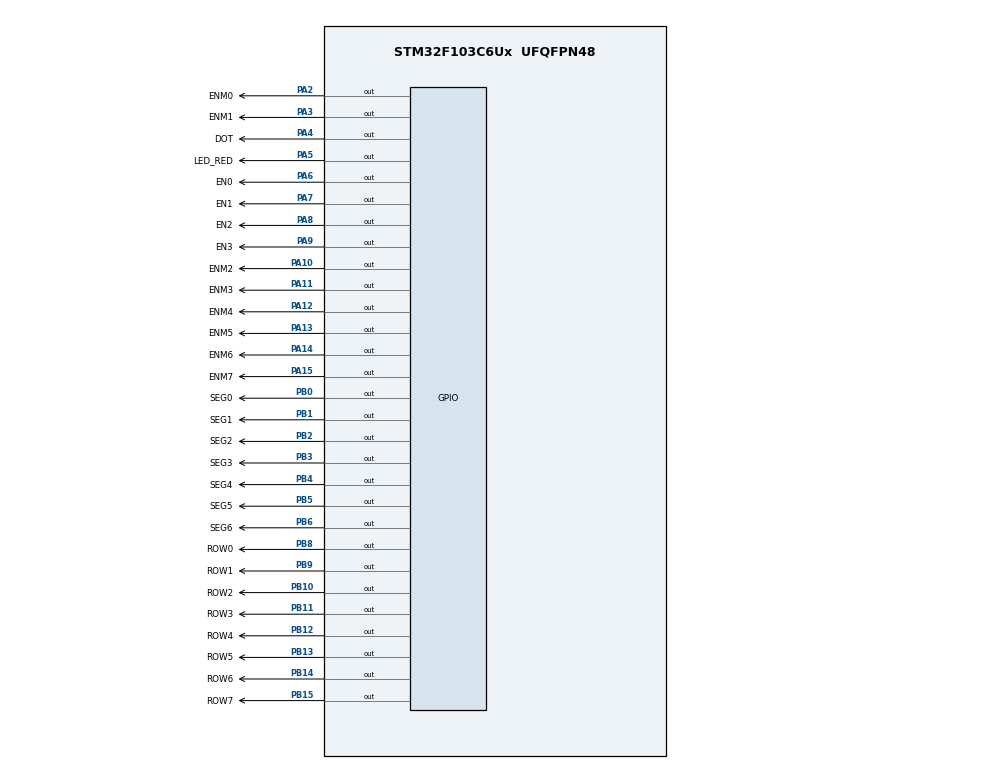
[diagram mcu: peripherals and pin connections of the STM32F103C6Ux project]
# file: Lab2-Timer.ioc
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Mcu.Family=STM32F1
Mcu.Name=STM32F103C6Ux
Mcu.Package=UFQFPN48
NVIC.PriorityGroup=NVIC_PRIORITYGROUP_4
NVIC.TIM2_IRQn=true\:0\:0\:false\:false\:true\:true\:true
PA10.GPIO_Label=ENM2
PA10.Signal=GPIO_Output
PA11.GPIO_Label=ENM3
PA11.Signal=GPIO_Output
PA12.GPIO_Label=ENM4
PA12.Signal=GPIO_Output
PA13.GPIO_Label=ENM5
PA13.Signal=GPIO_Output
PA14.GPIO_Label=ENM6
PA14.Signal=GPIO_Output
PA15.GPIO_Label=ENM7
PA15.Signal=GPIO_Output
PA2.GPIO_Label=ENM0
PA2.Signal=GPIO_Output
PA3.GPIO_Label=ENM1
PA3.Signal=GPIO_Output
PA4.GPIO_Label=DOT
PA4.Signal=GPIO_Output
PA5.GPIO_Label=LED_RED
PA5.Signal=GPIO_Output
PA6.GPIO_Label=EN0
PA6.Signal=GPIO_Output
PA7.GPIO_Label=EN1
PA7.Signal=GPIO_Output
PA8.GPIO_Label=EN2
PA8.Signal=GPIO_Output
PA9.GPIO_Label=EN3
PA9.Signal=GPIO_Output
PB0.GPIO_Label=SEG0
PB0.Signal=GPIO_Output
PB1.GPIO_Label=SEG1
PB1.Signal=GPIO_Output
PB10.GPIO_Label=ROW2
PB10.Signal=GPIO_Output
PB11.GPIO_Label=ROW3
PB11.Signal=GPIO_Output
PB12.GPIO_Label=ROW4
PB12.Signal=GPIO_Output
PB13.GPIO_Label=ROW5
PB13.Signal=GPIO_Output
PB14.GPIO_Label=ROW6
PB14.Signal=GPIO_Output
PB15.GPIO_Label=ROW7
PB15.Signal=GPIO_Output
PB2.GPIO_Label=SEG2
PB2.Signal=GPIO_Output
PB3.GPIO_Label=SEG3
PB3.Signal=GPIO_Output
PB4.GPIO_Label=SEG4
PB4.Signal=GPIO_Output
PB5.GPIO_Label=SEG5
PB5.Signal=GPIO_Output
PB6.GPIO_Label=SEG6
PB6.Signal=GPIO_Output
PB8.GPIO_Label=ROW0
PB8.Signal=GPIO_Output
PB9.GPIO_Label=ROW1
PB9.Signal=GPIO_Output
ProjectManager.HeapSize=0x200
ProjectManager.StackSize=0x400
ProjectManager.TargetToolchain=STM32CubeIDE
RCC.APB1Freq_Value=8000000
RCC.APB2Freq_Value=8000000
TIM2.Period=9
TIM2.Prescaler=7999
VP_SYS_VS_ND.Mode=No_Debug
VP_TIM2_VS_ClockSourceINT.Mode=Internal
board=custom

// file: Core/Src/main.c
/* USER CODE BEGIN Header */
/**
  ******************************************************************************
  * @file           : main.c
  * @brief          : Main program body
  ******************************************************************************
  * @attention
  *
  * <h2><center>&copy; Copyright (c) 2025 STMicroelectronics.
  * All rights reserved.</center></h2>
  *
  * This software component is licensed by ST under BSD 3-Clause license,
  * the "License"; You may not use this file except in compliance with the
  * License. You may obtain a copy of the License at:
  *                        opensource.org/licenses/BSD-3-Clause
  *
  ******************************************************************************
  */
/* USER CODE END Header */
#include "main.h"

/* USER CODE BEGIN Includes */
#include "software_timer.h"
/* USER CODE END Includes */

/* USER CODE BEGIN PD */
#define TIMER_COUNT 25		//250ms
#define TIMER_COUNT_1 50		//500ms
#define TIMER_COUNT_2 100		//1s
/* USER CODE END PD */

TIM_HandleTypeDef htim2;

void SystemClock_Config(void);
static void MX_GPIO_Init(void);
static void MX_TIM2_Init(void);

/* USER CODE BEGIN 0 */
GPIO_TypeDef* Counter_GPIO_Port[7] = {SEG0_GPIO_Port, SEG1_GPIO_Port, SEG2_GPIO_Port,
		  	  	  	  	  	   	   	  SEG3_GPIO_Port, SEG4_GPIO_Port, SEG5_GPIO_Port,
									  SEG6_GPIO_Port};
uint16_t Counter_Pin[7] = {SEG0_Pin, SEG1_Pin, SEG2_Pin, SEG3_Pin, SEG4_Pin, SEG5_Pin, SEG6_Pin};

uint8_t segmentNumber[10] = {
    0x40, //0
    0x79, //1
    0x24, //2
    0x30, //3
    0x19, //4
    0x12, //5
    0x02, //6
    0x78, //7
    0x00, //8
    0x10  //9
};

void display7Seg(uint8_t number, GPIO_TypeDef* Counter_GPIO_Port[7], uint16_t Counter_Pin[7]);

void clearAllEN();
void TogglePin();
int led_buffer[4] = {0, 0, 0, 0};

void updateClockBuffer(int hour, int minute, int *led_buffer);

void incrementClock(int* hour, int* minute, int* second);

void update7Seg(int index);

// ex9 ----------------------------
const int MAX_LED_MATRIX = 8;
int index_led_matrix = 0;
uint8_t matrix_buffer[8] = {0x01, 0x02, 0x03, 0x04, 0x05, 0x06, 0x07, 0x08};

uint8_t A_Col[] = {0x00, 0x30, 0x48, 0x48, 0x78, 0x48, 0x48, 0x48};
uint8_t A_Row[] = {0x03, 0xED, 0xED, 0x03, 0xFF, 0xFF, 0xFF, 0xFF};
uint16_t Col_Pin[] = {ENM0_Pin, ENM1_Pin, ENM2_Pin, ENM3_Pin, ENM4_Pin, ENM5_Pin, ENM6_Pin, ENM7_Pin};
uint16_t Row_Pin[] = {ROW0_Pin, ROW1_Pin, ROW2_Pin, ROW3_Pin, ROW4_Pin, ROW5_Pin, ROW6_Pin, ROW7_Pin};

void updateLEDMatrix(int index, uint16_t* Col_Pin, uint16_t* Row_Pin, uint8_t* matrix_buffer, int buffer);
void writeCol(int index, uint8_t* Col, uint16_t* Col_Pin);
void writeRow(int index, uint8_t* Row, uint16_t* Row_Pin);
void clearCol();
void clearRow();
void setCol(uint8_t value, uint16_t* Col_Pin);
void setRow(uint8_t value, uint16_t* Row_Pin);
/* USER CODE END 0 */

int main(void)
{

  /* MCU Configuration--------------------------------------------------------*/

  /* Reset of all peripherals, Initializes the Flash interface and the Systick. */
  HAL_Init();

  /* USER CODE BEGIN Init */
  int hour = 10, minute = 35, second = 58;
  int status = 0;
  setTimer0(4*TIMER_COUNT);		//1s
  setTimer1(TIMER_COUNT);
  setTimer2(TIMER_COUNT);
  setTimer3(TIMER_COUNT_1);		//500ms
  setTimer4(TIMER_COUNT_2);		//1s
  // ex10
  int buffer = 0;
  /* USER CODE END Init */

  /* Configure the system clock */
  SystemClock_Config();

  /* Initialize all configured peripherals */
  MX_GPIO_Init();
  MX_TIM2_Init();
  /* USER CODE BEGIN 2 */
  HAL_TIM_Base_Start_IT(&htim2);
  /* USER CODE END 2 */

  /* Infinite loop */
  /* USER CODE BEGIN WHILE */
  while (1)
  {
	  if (timer0_flag == 1) {
	  	  incrementClock(&hour, &minute, &second);
	  	  setTimer0(4*TIMER_COUNT);
	  }

	  if (timer1_flag == 1) {
	  	  updateClockBuffer(hour, minute, led_buffer);
	  	  update7Seg(status);
	  	  status = (status + 1) % 4;
	  	  setTimer1(TIMER_COUNT);
	  }

	  if (timer2_flag == 1) {
		  HAL_GPIO_TogglePin(DOT_GPIO_Port, DOT_Pin);
	  	  setTimer2(4*TIMER_COUNT);
	  }

	  if (timer3_flag == 1) {
		  updateLEDMatrix(index_led_matrix, Col_Pin, Row_Pin, A_Row, buffer);
	  	  setTimer3(TIMER_COUNT_1);
	  	  if (index_led_matrix + 1 == 8) buffer = (buffer + 1) % 8;
	  	  index_led_matrix = (index_led_matrix + 1) % 8;
	  }
    /* USER CODE END WHILE */

  }
}

void SystemClock_Config(void)
{
  RCC_OscInitTypeDef RCC_OscInitStruct = {0};
  RCC_ClkInitTypeDef RCC_ClkInitStruct = {0};

  /** Initializes the RCC Oscillators according to the specified parameters
  * in the RCC_OscInitTypeDef structure.
  */
  RCC_OscInitStruct.OscillatorType = RCC_OSCILLATORTYPE_HSI;
  RCC_OscInitStruct.HSIState = RCC_HSI_ON;
  RCC_OscInitStruct.HSICalibrationValue = RCC_HSICALIBRATION_DEFAULT;
  RCC_OscInitStruct.PLL.PLLState = RCC_PLL_NONE;
  if (HAL_RCC_OscConfig(&RCC_OscInitStruct) != HAL_OK)
  {
    Error_Handler();
  }
  /** Initializes the CPU, AHB and APB buses clocks
  */
  RCC_ClkInitStruct.ClockType = RCC_CLOCKTYPE_HCLK|RCC_CLOCKTYPE_SYSCLK
                              |RCC_CLOCKTYPE_PCLK1|RCC_CLOCKTYPE_PCLK2;
  RCC_ClkInitStruct.SYSCLKSource = RCC_SYSCLKSOURCE_HSI;
  RCC_ClkInitStruct.AHBCLKDivider = RCC_SYSCLK_DIV1;
  RCC_ClkInitStruct.APB1CLKDivider = RCC_HCLK_DIV1;
  RCC_ClkInitStruct.APB2CLKDivider = RCC_HCLK_DIV1;

  if (HAL_RCC_ClockConfig(&RCC_ClkInitStruct, FLASH_LATENCY_0) != HAL_OK)
  {
    Error_Handler();
  }
}

static void MX_TIM2_Init(void)
{

  TIM_ClockConfigTypeDef sClockSourceConfig = {0};
  TIM_MasterConfigTypeDef sMasterConfig = {0};

  htim2.Instance = TIM2;
  htim2.Init.Prescaler = 7999;
  htim2.Init.CounterMode = TIM_COUNTERMODE_UP;
  htim2.Init.Period = 9;
  htim2.Init.ClockDivision = TIM_CLOCKDIVISION_DIV1;
  htim2.Init.AutoReloadPreload = TIM_AUTORELOAD_PRELOAD_DISABLE;
  if (HAL_TIM_Base_Init(&htim2) != HAL_OK)
  {
    Error_Handler();
  }
  sClockSourceConfig.ClockSource = TIM_CLOCKSOURCE_INTERNAL;
  if (HAL_TIM_ConfigClockSource(&htim2, &sClockSourceConfig) != HAL_OK)
  {
    Error_Handler();
  }
  sMasterConfig.MasterOutputTrigger = TIM_TRGO_RESET;
  sMasterConfig.MasterSlaveMode = TIM_MASTERSLAVEMODE_DISABLE;
  if (HAL_TIMEx_MasterConfigSynchronization(&htim2, &sMasterConfig) != HAL_OK)
  {
    Error_Handler();
  }

}

static void MX_GPIO_Init(void)
{
  GPIO_InitTypeDef GPIO_InitStruct = {0};

  /* GPIO Ports Clock Enable */
  __HAL_RCC_GPIOA_CLK_ENABLE();
  __HAL_RCC_GPIOB_CLK_ENABLE();

  /*Configure GPIO pin Output Level */
  HAL_GPIO_WritePin(GPIOA, ENM0_Pin|ENM1_Pin|DOT_Pin|LED_RED_Pin
                          |EN0_Pin|EN1_Pin|EN2_Pin|EN3_Pin
                          |ENM2_Pin|ENM3_Pin|ENM4_Pin|ENM5_Pin
                          |ENM6_Pin|ENM7_Pin, GPIO_PIN_RESET);

  /*Configure GPIO pin Output Level */
  HAL_GPIO_WritePin(GPIOB, SEG0_Pin|SEG1_Pin|SEG2_Pin|ROW2_Pin
                          |ROW3_Pin|ROW4_Pin|ROW5_Pin|ROW6_Pin
                          |ROW7_Pin|SEG3_Pin|SEG4_Pin|SEG5_Pin
                          |SEG6_Pin|ROW0_Pin|ROW1_Pin, GPIO_PIN_RESET);

  /*Configure GPIO pins : ENM0_Pin ENM1_Pin DOT_Pin LED_RED_Pin
                           EN0_Pin EN1_Pin EN2_Pin EN3_Pin
                           ENM2_Pin ENM3_Pin ENM4_Pin ENM5_Pin
                           ENM6_Pin ENM7_Pin */
  GPIO_InitStruct.Pin = ENM0_Pin|ENM1_Pin|DOT_Pin|LED_RED_Pin
                          |EN0_Pin|EN1_Pin|EN2_Pin|EN3_Pin
                          |ENM2_Pin|ENM3_Pin|ENM4_Pin|ENM5_Pin
                          |ENM6_Pin|ENM7_Pin;
  GPIO_InitStruct.Mode = GPIO_MODE_OUTPUT_PP;
  GPIO_InitStruct.Pull = GPIO_NOPULL;
  GPIO_InitStruct.Speed = GPIO_SPEED_FREQ_LOW;
  HAL_GPIO_Init(GPIOA, &GPIO_InitStruct);

  /*Configure GPIO pins : SEG0_Pin SEG1_Pin SEG2_Pin ROW2_Pin
                           ROW3_Pin ROW4_Pin ROW5_Pin ROW6_Pin
                           ROW7_Pin SEG3_Pin SEG4_Pin SEG5_Pin
                           SEG6_Pin ROW0_Pin ROW1_Pin */
  GPIO_InitStruct.Pin = SEG0_Pin|SEG1_Pin|SEG2_Pin|ROW2_Pin
                          |ROW3_Pin|ROW4_Pin|ROW5_Pin|ROW6_Pin
                          |ROW7_Pin|SEG3_Pin|SEG4_Pin|SEG5_Pin
                          |SEG6_Pin|ROW0_Pin|ROW1_Pin;
  GPIO_InitStruct.Mode = GPIO_MODE_OUTPUT_PP;
  GPIO_InitStruct.Pull = GPIO_NOPULL;
  GPIO_InitStruct.Speed = GPIO_SPEED_FREQ_LOW;
  HAL_GPIO_Init(GPIOB, &GPIO_InitStruct);

}

/* USER CODE BEGIN 4 */
void Toggle_EN()
{
	HAL_GPIO_WritePin(EN0_GPIO_Port, EN0_Pin, EN[0]);
	HAL_GPIO_WritePin(EN1_GPIO_Port, EN1_Pin, EN[1]);
	HAL_GPIO_WritePin(EN2_GPIO_Port, EN2_Pin, EN[2]);
	HAL_GPIO_WritePin(EN3_GPIO_Port, EN3_Pin, EN[3]);
}

void clearAllEN()
{
	EN[0] = 1;
	EN[1] = 1;
	EN[2] = 1;
	EN[3] = 1;
}

void update7Seg(int index){
	clearAllEN();
	EN[index] = 0;
	switch (index){
		case 0:
			//Display the first 7SEG with led_buffer[0]
			display7Seg(segmentNumber[led_buffer[0]], Counter_GPIO_Port, Counter_Pin);
			break;
		case 1:
			//Display the second 7SEG with led_buffer[1]
			display7Seg(segmentNumber[led_buffer[1]], Counter_GPIO_Port, Counter_Pin);
			break;
		case 2:
			//Display the third 7SEG with led_buffer[2]
			display7Seg(segmentNumber[led_buffer[2]], Counter_GPIO_Port, Counter_Pin);
			break;
		case 3:
			//Display the fourth 7SEG with led_buffer[3]
			display7Seg(segmentNumber[led_buffer[3]], Counter_GPIO_Port, Counter_Pin);
			break;
		default:
			break;
	}
	Toggle_EN();
}

void updateClockBuffer(int hour, int minute, int *led_buffer) {
	led_buffer[0] = hour / 10;
	led_buffer[1] = hour % 10;
	led_buffer[2] = minute / 10;
	led_buffer[3] = minute % 10;
}

void incrementClock(int* hour, int* minute, int* second) {
	(*second)++;
	if (*second >= 60){
		*second = 0;
		(*minute)++;
	}
	if (*minute >= 60){
		*minute = 0;
		(*hour)++;
	}
	if (*hour >= 24){
		*hour = 0;
	}
}

void HAL_TIM_PeriodElapsedCallback(TIM_HandleTypeDef *htim)
{
	timerRun();
}

void display7Seg(uint8_t number, GPIO_TypeDef* Counter_GPIO_Port[7], uint16_t Counter_Pin[7]) {
    HAL_GPIO_WritePin(Counter_GPIO_Port[0], Counter_Pin[0], ((number >> 0) & 0x01));
    HAL_GPIO_WritePin(Counter_GPIO_Port[1], Counter_Pin[1], ((number >> 1) & 0x01));
    HAL_GPIO_WritePin(Counter_GPIO_Port[2], Counter_Pin[2], ((number >> 2) & 0x01));
    HAL_GPIO_WritePin(Counter_GPIO_Port[3], Counter_Pin[3], ((number >> 3) & 0x01));
    HAL_GPIO_WritePin(Counter_GPIO_Port[4], Counter_Pin[4], ((number >> 4) & 0x01));
    HAL_GPIO_WritePin(Counter_GPIO_Port[5], Counter_Pin[5], ((number >> 5) & 0x01));
    HAL_GPIO_WritePin(Counter_GPIO_Port[6], Counter_Pin[6], ((number >> 6) & 0x01));
}

// ex9 -------------------------------
void updateLEDMatrix(int index, uint16_t* Col_Pin, uint16_t* Row_Pin, uint8_t* matrix_buffer, int buffer) {
	clearCol();
	clearRow();
	HAL_GPIO_WritePin(GPIOA, Col_Pin[(index + buffer) % 8], GPIO_PIN_RESET);
	setRow(matrix_buffer[index], Row_Pin);
}

void clearCol(){
	for (int i = 0; i < 8; i++) {
		HAL_GPIO_WritePin(GPIOA, Col_Pin[i], GPIO_PIN_SET);
	}
}

void clearRow(){
	for (int i = 0; i < 8; i++) {
		HAL_GPIO_WritePin(GPIOB, Row_Pin[i], GPIO_PIN_SET);
	}
}

void writeCol(int index, uint8_t* Col, uint16_t* Col_Pin) {
	for (int i = 0; i < 8; i++) {
		HAL_GPIO_WritePin(GPIOA, Col_Pin[i], (Col[index] >> i) & 0x01);
	}
}

void writeRow(int index, uint8_t* Row, uint16_t* Row_Pin) {
	for (int i = 0; i < 8; i++) {
		HAL_GPIO_WritePin(GPIOB, Row_Pin[i], (Row[index] >> i) & 0x01);
	}
}

void setCol(uint8_t value, uint16_t* Col_Pin) {
    for (int i = 0; i < 8; i++) {
        HAL_GPIO_WritePin(GPIOA, Col_Pin[i], (value >> i) & 0x01);
    }
}

void setRow(uint8_t value, uint16_t* Row_Pin) {
    for (int i = 0; i < 8; i++) {
        HAL_GPIO_WritePin(GPIOB, Row_Pin[i], (value >> i) & 0x01);
    }
}
/* USER CODE END 4 */

void Error_Handler(void)
{
  __disable_irq();
  while (1)
  {
  }
}

/************************ (C) COPYRIGHT STMicroelectronics *****END OF FILE****/
